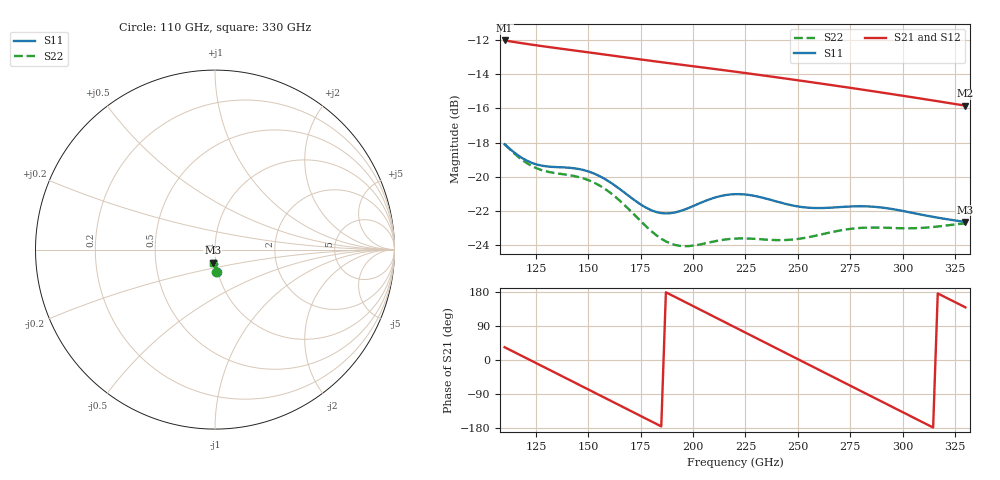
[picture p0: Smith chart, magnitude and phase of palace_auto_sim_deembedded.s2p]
! Created with skrf 1.11.0 (http://scikit-rf.org).
# GHz S DB R 50.0
!freq dBS11 angS11 dBS21 angS21 dBS12 angS12 dBS22 angS22
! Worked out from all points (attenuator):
!   101 points, 110 GHz to 330 GHz, reference 50 ohm
!   highest |S21| = -12.00 dB at 110 GHz (marker M1); lowest = -15.8 dB at 330 GHz (marker M2)
!   lowest |S11| = -22.7 dB at 330 GHz (marker M3), VSWR 1.16, Z = 48.3 - j7.05 ohm
!   |S11| at or under -10 dB: start of sweep to end of sweep
!   |S22| runs from -24.1 to -18.1 dB; largest |S21 - S12| = 2.8e-13
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110  -18.10 -86.1  -12.00 33.7  -12.00 33.7  -18.10 -87.9
118.8  -18.95 -85.0  -12.17 9.2  -12.17 9.2  -19.06 -87.5
127.6  -19.36 -83.2  -12.33 -15.3  -12.33 -15.3  -19.62 -86.1
138.6  -19.46 -83.3  -12.52 -46.0  -12.52 -46.0  -19.87 -86.4
147.4  -19.61 -85.7  -12.66 -70.6  -12.66 -70.6  -20.10 -89.0
156.2  -20.03 -88.8  -12.80 -95.2  -12.80 -95.2  -20.59 -92.7
165  -20.74 -90.8  -12.95 -119.9  -12.95 -119.9  -21.42 -95.8
176  -21.72 -89.6  -13.14 -150.6  -13.14 -150.6  -22.74 -96.3
184.8  -22.15 -85.8  -13.28 -175.2  -13.28 -175.2  -23.65 -93.2
193.6  -22.04 -82.2  -13.42 160.2  -13.42 160.2  -24.07 -88.3
204.6  -21.49 -81.1  -13.59 129.4  -13.59 129.4  -23.96 -84.0
220  -21.03 -85.4  -13.84 86.3  -13.84 86.3  -23.65 -83.5
228.8  -21.12 -88.4  -13.98 61.6  -13.98 61.6  -23.66 -84.0
239.8  -21.46 -90.8  -14.17 30.8  -14.17 30.8  -23.73 -83.9
248.6  -21.73 -91.4  -14.32 6.2  -14.32 6.2  -23.69 -83.4
257.4  -21.85 -91.3  -14.47 -18.4  -14.47 -18.4  -23.50 -83.3
268.4  -21.81 -91.7  -14.67 -49.2  -14.67 -49.2  -23.21 -84.6
277.2  -21.75 -92.9  -14.83 -73.8  -14.83 -73.8  -23.05 -86.5
286  -21.77 -94.7  -14.99 -98.4  -14.99 -98.4  -22.99 -88.7
294.8  -21.90 -96.5  -15.15 -122.9  -15.15 -122.9  -23.02 -90.6
312.4  -22.32 -98.6  -15.49 -172.0  -15.49 -172.0  -22.99 -93.4
330  -22.67 -99.4  -15.84 138.9  -15.84 138.9  -22.75 -97.8
